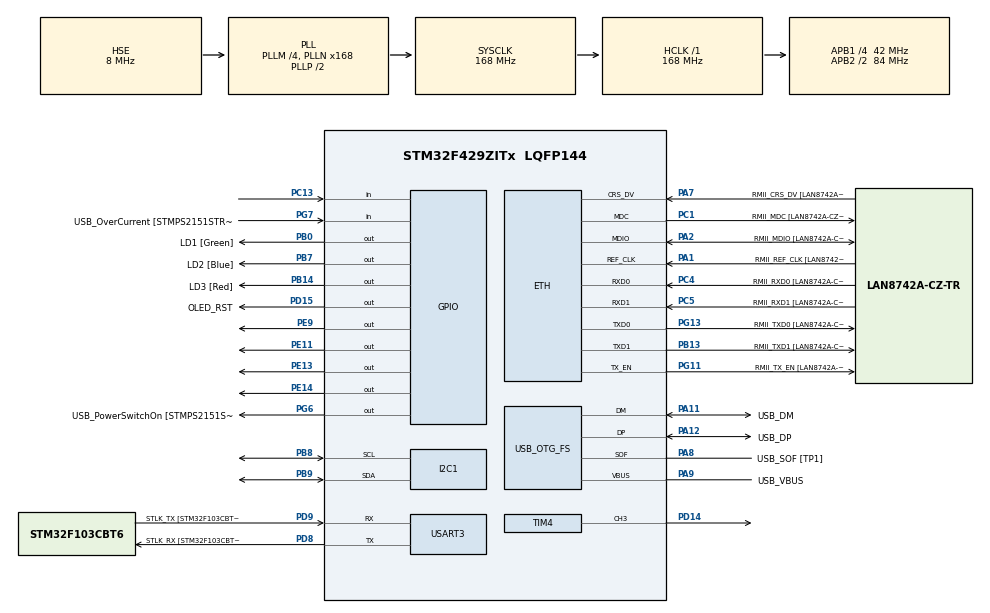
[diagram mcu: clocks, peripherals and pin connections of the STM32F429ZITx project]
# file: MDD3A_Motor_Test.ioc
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ETH.MediaInterface=HAL_ETH_RMII_MODE
ETH.PHY_Name=LAN8742A_PHY_ADDRESS
ETH.PHY_Value=0
ETH.PhyAddress=0
Mcu.Family=STM32F4
Mcu.Name=STM32F429ZITx
Mcu.Package=LQFP144
NVIC.PriorityGroup=NVIC_PRIORITYGROUP_4
PA1.GPIO_Label=RMII_REF_CLK [LAN8742A-CZ-TR_REFCLK0]
PA1.Mode=RMII
PA1.Signal=ETH_REF_CLK
PA10.GPIO_Label=USB_ID
PA10.Signal=USB_OTG_FS_ID
PA11.GPIO_Label=USB_DM
PA11.Mode=Device_Only
PA11.Signal=USB_OTG_FS_DM
PA12.GPIO_Label=USB_DP
PA12.Mode=Device_Only
PA12.Signal=USB_OTG_FS_DP
PA13.GPIO_Label=TMS
PA13.Mode=Serial_Wire
PA13.Signal=SYS_JTMS-SWDIO
PA14.GPIO_Label=TCK
PA14.Mode=Serial_Wire
PA14.Signal=SYS_JTCK-SWCLK
PA2.GPIO_Label=RMII_MDIO [LAN8742A-CZ-TR_MDIO]
PA2.Mode=RMII
PA2.Signal=ETH_MDIO
PA7.GPIO_Label=RMII_CRS_DV [LAN8742A-CZ-TR_CRS_DV]
PA7.Mode=RMII
PA7.Signal=ETH_CRS_DV
PA8.GPIO_Label=USB_SOF [TP1]
PA8.Mode=Activate_SOF_FS
PA8.Signal=USB_OTG_FS_SOF
PA9.GPIO_Label=USB_VBUS
PA9.Mode=Activate_VBUS
PA9.Signal=USB_OTG_FS_VBUS
PB0.GPIO_Label=LD1 [Green]
PB0.Signal=GPIO_Output
PB13.GPIO_Label=RMII_TXD1 [LAN8742A-CZ-TR_TXD1]
PB13.Mode=RMII
PB13.Signal=ETH_TXD1
PB14.GPIO_Label=LD3 [Red]
PB14.Signal=GPIO_Output
PB7.GPIO_Label=LD2 [Blue]
PB7.Signal=GPIO_Output
PB8.Mode=I2C
PB8.Signal=I2C1_SCL
PB9.Mode=I2C
PB9.Signal=I2C1_SDA
PC1.GPIO_Label=RMII_MDC [LAN8742A-CZ-TR_MDC]
PC1.Mode=RMII
PC1.Signal=ETH_MDC
PC13.Signal=GPIO_Input
PC14/OSC32_IN.Mode=LSE-External-Oscillator
PC14/OSC32_IN.Signal=RCC_OSC32_IN
PC15/OSC32_OUT.Mode=LSE-External-Oscillator
PC15/OSC32_OUT.Signal=RCC_OSC32_OUT
PC4.GPIO_Label=RMII_RXD0 [LAN8742A-CZ-TR_RXD0]
PC4.Mode=RMII
PC4.Signal=ETH_RXD0
PC5.GPIO_Label=RMII_RXD1 [LAN8742A-CZ-TR_RXD1]
PC5.Mode=RMII
PC5.Signal=ETH_RXD1
PD14.Signal=S_TIM4_CH3
PD15.GPIO_Label=OLED_RST
PD15.Signal=GPIO_Output
PD8.GPIO_Label=STLK_RX [STM32F103CBT6_PA3]
PD8.Mode=Asynchronous
PD8.Signal=USART3_TX
PD9.GPIO_Label=STLK_TX [STM32F103CBT6_PA2]
PD9.Mode=Asynchronous
PD9.Signal=USART3_RX
PE11.Signal=GPIO_Output
PE13.Signal=GPIO_Output
PE14.Signal=GPIO_Output
PE9.Signal=GPIO_Output
PG11.GPIO_Label=RMII_TX_EN [LAN8742A-CZ-TR_TXEN]
PG11.Mode=RMII
PG11.Signal=ETH_TX_EN
PG13.GPIO_Label=RMII_TXD0 [LAN8742A-CZ-TR_TXD0]
PG13.Mode=RMII
PG13.Signal=ETH_TXD0
PG6.GPIO_Label=USB_PowerSwitchOn [STMPS2151STR_EN]
PG6.Signal=GPIO_Output
PG7.GPIO_Label=USB_OverCurrent [STMPS2151STR_FAULT]
PG7.Signal=GPIO_Input
PH0/OSC_IN.GPIO_Label=MCO [STM32F103CBT6_PA8]
PH0/OSC_IN.Mode=HSE-External-Clock-Source
PH0/OSC_IN.Signal=RCC_OSC_IN
PH1/OSC_OUT.Signal=RCC_OSC_OUT
ProjectManager.HeapSize=0x200
ProjectManager.StackSize=0x400
ProjectManager.TargetToolchain=STM32CubeIDE
RCC.48MHZClocksFreq_Value=48000000
RCC.AHBFreq_Value=168000000
RCC.APB1CLKDivider=RCC_HCLK_DIV4
RCC.APB1Freq_Value=42000000
RCC.APB1TimFreq_Value=84000000
RCC.APB2CLKDivider=RCC_HCLK_DIV2
RCC.APB2Freq_Value=84000000
RCC.APB2TimCLKDivider=2
RCC.APB2TimFreq_Value=168000000
RCC.CortexFreq_Value=168000000
RCC.HCLKFreq_Value=168000000
RCC.HSE_VALUE=8000000
RCC.HSI_VALUE=16000000
RCC.PLLM=4
RCC.PLLMUL=RCC_PLL_MUL9
RCC.PLLN=168
RCC.PLLQ=7
RCC.PRESCALERUSB=RCC_USBCLKSOURCE_PLL_DIV1_5
RCC.SYSCLKFreq_VALUE=168000000
RCC.SYSCLKSource=RCC_SYSCLKSOURCE_PLLCLK
RCC.SYSCLKSourceVirtual=RCC_SYSCLKSOURCE_PLLCLK
RCC.USBFreq_Value=48000000
RCC.VCOOutputFreq_Value=336000000
SH.S_TIM4_CH3.0=TIM4_CH3,PWM Generation3 CH3
TIM4.AutoReloadPreload=TIM_AUTORELOAD_PRELOAD_ENABLE
TIM4.Channel-PWM\ Generation3\ CH3=TIM_CHANNEL_3
TIM4.Period=19999
TIM4.Prescaler=83
USART3.VirtualMode=VM_ASYNC
USB_OTG_FS.VirtualMode=Device_Only
VP_TIM4_VS_ClockSourceINT.Mode=Internal
board=NUCLEO-F429ZI

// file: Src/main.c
/* USER CODE BEGIN Header */
/**
  ******************************************************************************
  * @file           : main.c
  * @brief          : Main program body
  ******************************************************************************
  * @attention
  *
  * Copyright (c) 2026 STMicroelectronics.
  * All rights reserved.
  *
  * This software is licensed under terms that can be found in the LICENSE file
  * in the root directory of this software component.
  * If no LICENSE file comes with this software, it is provided AS-IS.
  *
  ******************************************************************************
  */
/* USER CODE END Header */
#include "main.h"
#include "string.h"

/* USER CODE BEGIN Includes */
#include <stdio.h>
/* USER CODE END Includes */

ETH_TxPacketConfig TxConfig;
ETH_DMADescTypeDef  DMARxDscrTab[ETH_RX_DESC_CNT]; /* Ethernet Rx DMA Descriptors */
ETH_DMADescTypeDef  DMATxDscrTab[ETH_TX_DESC_CNT]; /* Ethernet Tx DMA Descriptors */

ETH_HandleTypeDef heth;

I2C_HandleTypeDef hi2c1;

TIM_HandleTypeDef htim4;

UART_HandleTypeDef huart3;

PCD_HandleTypeDef hpcd_USB_OTG_FS;

void SystemClock_Config(void);
static void MX_GPIO_Init(void);
static void MX_ETH_Init(void);
static void MX_USART3_UART_Init(void);
static void MX_USB_OTG_FS_PCD_Init(void);
static void MX_I2C1_Init(void);
static void MX_TIM4_Init(void);

/* USER CODE BEGIN 0 */

static uint8_t rtc_frame[1025];

// 숫자 및 기호, 문자 폰트
static const char rtc_chars[] =
    "0123456789-: RT CIMEOKNG";

static const uint8_t rtc_font[][5] = {
    {0x3E,0x41,0x41,0x41,0x3E}, // 0
    {0x00,0x42,0x7F,0x40,0x00}, // 1
    {0x62,0x51,0x49,0x49,0x46}, // 2
    {0x22,0x41,0x49,0x49,0x36}, // 3
    {0x18,0x14,0x12,0x7F,0x10}, // 4
    {0x27,0x45,0x45,0x45,0x39}, // 5
    {0x3E,0x49,0x49,0x49,0x32}, // 6
    {0x01,0x71,0x09,0x05,0x03}, // 7
    {0x36,0x49,0x49,0x49,0x36}, // 8
    {0x26,0x49,0x49,0x49,0x3E}, // 9
    {0x08,0x08,0x08,0x08,0x08}, // -
    {0x00,0x36,0x36,0x00,0x00}, // :
    {0x00,0x00,0x00,0x00,0x00}, // Space
    {0x7F,0x09,0x19,0x29,0x46}, // R
    {0x01,0x01,0x7F,0x01,0x01}, // T
    {0x00,0x00,0x00,0x00,0x00}, // Space
    {0x3E,0x41,0x41,0x41,0x22}, // C
    {0x00,0x41,0x7F,0x41,0x00}, // I
    {0x7F,0x02,0x0C,0x02,0x7F}, // M
    {0x7F,0x49,0x49,0x49,0x41}, // E
    {0x3E,0x41,0x41,0x41,0x3E}, // O
    {0x7F,0x08,0x14,0x22,0x41}, // K
    {0x7F,0x02,0x04,0x08,0x7F}, // N
    {0x3E,0x41,0x49,0x49,0x7A}  // G
};

// BCD -> Decimal
static uint8_t RTC_BCD(uint8_t value)
{
    return ((value >> 4) * 10)
           + (value & 0x0F);
}

// OLED 문자 그리기
static void RTC_DrawText(
    uint8_t x,
    uint8_t y,
    const char *text,
    uint8_t scale)
{
    while (*text)
    {
        const char *p = strchr(rtc_chars, *text);

        if (p != NULL)
        {
            uint8_t index = p - rtc_chars;

            for (uint8_t col = 0; col < 5; col++)
            {
                for (uint8_t row = 0; row < 7; row++)
                {
                    if (rtc_font[index][col] & (1U << row))
                    {
                        for (uint8_t dx = 0; dx < scale; dx++)
                        {
                            for (uint8_t dy = 0; dy < scale; dy++)
                            {
                                uint16_t px =
                                    x + col * scale + dx;

                                uint16_t py =
                                    y + row * scale + dy;

                                if (px < 128 && py < 64)
                                {
                                    rtc_frame[
                                        1 + (py / 8) * 128 + px
                                    ] |= (1U << (py % 8));
                                }
                            }
                        }
                    }
                }
            }
        }

        x += 6 * scale;
        text++;
    }
}

// RTC 날짜 및 시간 읽기, OLED 출력
static HAL_StatusTypeDef RTC_ShowTime(uint8_t addr)
{
    uint8_t data[7];
    uint8_t flags = 0;

    char date[16];
    char time[16];

    memset(rtc_frame, 0, sizeof(rtc_frame));
    rtc_frame[0] = 0x40;

    RTC_DrawText(25, 2, "RTC TIME TEST", 1);

    HAL_StatusTypeDef result = HAL_I2C_Mem_Read(
        &hi2c1,
        (0x68 << 1),
        0x00,
        I2C_MEMADD_SIZE_8BIT,
        data,
        sizeof(data),
        100
    );

    if (result == HAL_OK)
    {
        uint8_t sec = RTC_BCD(data[0] & 0x7F);
        uint8_t min = RTC_BCD(data[1] & 0x7F);
        uint8_t hour = RTC_BCD(data[2] & 0x3F);

        uint8_t day = RTC_BCD(data[4] & 0x3F);
        uint8_t month = RTC_BCD(data[5] & 0x1F);
        uint8_t year = RTC_BCD(data[6]);

        snprintf(date, sizeof(date),
                 "20%02u-%02u-%02u",
                 year, month, day);

        snprintf(time, sizeof(time),
                 "%02u:%02u:%02u",
                 hour, min, sec);

        RTC_DrawText(4, 15, date, 2);
        RTC_DrawText(0, 32, time, 2);

        result = HAL_I2C_Mem_Read(
            &hi2c1,
            (0x68 << 1),
            0x0F,
            I2C_MEMADD_SIZE_8BIT,
            &flags,
            1,
            100
        );

        if (result == HAL_OK && !(flags & 0x80))
        {
            RTC_DrawText(46, 55, "RTC OK", 1);
        }
        else
        {
            RTC_DrawText(46, 55, "RTC NG", 1);
        }
    }
    else
    {
        RTC_DrawText(46, 28, "RTC NG", 1);
    }

    uint8_t window[] = {
        0x00,
        0x21, 0x00, 0x7F,
        0x22, 0x00, 0x07
    };

    if (HAL_I2C_Master_Transmit(
            &hi2c1,
            (addr << 1),
            window,
            sizeof(window),
            200) != HAL_OK)
    {
        return HAL_ERROR;
    }

    return HAL_I2C_Master_Transmit(
        &hi2c1,
        (addr << 1),
        rtc_frame,
        sizeof(rtc_frame),
        500
    );
}

/* USER CODE END 0 */

int main(void)
{

  /* MCU Configuration--------------------------------------------------------*/

  /* Reset of all peripherals, Initializes the Flash interface and the Systick. */
  HAL_Init();

  /* Configure the system clock */
  SystemClock_Config();

  /* Initialize all configured peripherals */
  MX_GPIO_Init();
  MX_ETH_Init();
  MX_USART3_UART_Init();
  MX_USB_OTG_FS_PCD_Init();
  MX_I2C1_Init();
  MX_TIM4_Init();
  /* USER CODE BEGIN 2 */

  // ===== RTC 날짜 및 시간 설정 =====

  // 1: 시간 설정 실행
  // 0: 시간 설정 안 함
  #define RTC_SET_TIME 0

  #if RTC_SET_TIME

  // 아래 값을 실제 현재 시간으로 변경
  uint8_t set_year   = 26;
  uint8_t set_month  = 11;
  uint8_t set_date   = 27;
  uint8_t set_day    = 6;
  uint8_t set_hour   = 19;
  uint8_t set_minute = 2;
  uint8_t set_second = 0;

  // 십진수 → BCD 변환
  uint8_t rtc_set[7] = {
      ((set_second / 10) << 4) | (set_second % 10),
      ((set_minute / 10) << 4) | (set_minute % 10),
      ((set_hour / 10) << 4) | (set_hour % 10),
      set_day,
      ((set_date / 10) << 4) | (set_date % 10),
      ((set_month / 10) << 4) | (set_month % 10),
      ((set_year / 10) << 4) | (set_year % 10)
  };

  volatile HAL_StatusTypeDef rtc_set_result;

  HAL_Delay(200);

  // DS3231 시간 레지스터에 기록
  rtc_set_result = HAL_I2C_Mem_Write(
      &hi2c1,
      (0x68 << 1),
      0x00,
      I2C_MEMADD_SIZE_8BIT,
      rtc_set,
      sizeof(rtc_set),
      100
  );

  // RTC 시간 설정 실패 확인
  if (rtc_set_result != HAL_OK)
  {
      HAL_GPIO_WritePin(GPIOB,
          GPIO_PIN_14, GPIO_PIN_SET);

      while (1)
      {
          HAL_Delay(100);
      }
  }

  #endif

  // ===== RTC 날짜 및 시간 설정 끝 =====

  // RTC 시험용 LED 초기화
  __HAL_RCC_GPIOB_CLK_ENABLE();

  GPIO_InitTypeDef rtc_led = {0};
  rtc_led.Pin = GPIO_PIN_0 | GPIO_PIN_14;
  rtc_led.Mode = GPIO_MODE_OUTPUT_PP;
  rtc_led.Pull = GPIO_NOPULL;
  rtc_led.Speed = GPIO_SPEED_FREQ_LOW;

  HAL_GPIO_Init(GPIOB, &rtc_led);

  HAL_GPIO_WritePin(GPIOB,
      GPIO_PIN_0 | GPIO_PIN_14,
      GPIO_PIN_RESET);

  HAL_Delay(200);

  uint8_t rtc_first = 0;
  uint8_t rtc_second = 0;

  HAL_StatusTypeDef status1;
  HAL_StatusTypeDef status2;

  // 첫 번째 초 데이터 읽기
  status1 = HAL_I2C_Mem_Read(
      &hi2c1,
      (0x68 << 1),
      0x00,
      I2C_MEMADD_SIZE_8BIT,
      &rtc_first,
      1,
      100
  );

  // 2초 대기
  HAL_Delay(2000);

  // 두 번째 초 데이터 읽기
  status2 = HAL_I2C_Mem_Read(
      &hi2c1,
      (0x68 << 1),
      0x00,
      I2C_MEMADD_SIZE_8BIT,
      &rtc_second,
      1,
      100
  );

  // BCD 데이터를 십진수로 변환
  uint8_t sec1 =
      ((rtc_first >> 4) & 0x07) * 10
      + (rtc_first & 0x0F);

  uint8_t sec2 =
      ((rtc_second >> 4) & 0x07) * 10
      + (rtc_second & 0x0F);

  uint8_t diff = (sec2 + 60 - sec1) % 60;

  uint8_t rtc_flags = 0;

  HAL_StatusTypeDef flag_status;

  flag_status = HAL_I2C_Mem_Read(
      &hi2c1,
      (0x68 << 1),
      0x0F,
      I2C_MEMADD_SIZE_8BIT,
      &rtc_flags,
      1,
      100
  );

  // OSF 비트 확인
  uint8_t rtc_osf = (rtc_flags & 0x80) != 0;

  // 읽기 성공 및 시간 증가 확인
  if (status1 == HAL_OK &&
      status2 == HAL_OK &&
	  flag_status == HAL_OK &&
      sec1 < 60 &&
      sec2 < 60 &&
      diff >= 1 &&
      diff <= 3)
  {
      HAL_GPIO_WritePin(GPIOB,
          GPIO_PIN_0, GPIO_PIN_SET);

      if (rtc_osf)
          {
              HAL_GPIO_WritePin(GPIOB,
                  GPIO_PIN_14, GPIO_PIN_SET);
          }
  }
  else
  {
      HAL_GPIO_WritePin(GPIOB,
          GPIO_PIN_14, GPIO_PIN_SET);
  }

  // ===== OLED I2C 통신 시험 =====

  // 파란색 LD2 초기화 (PB7)
  __HAL_RCC_GPIOB_CLK_ENABLE();

  GPIO_InitTypeDef oled_led = {0};

  oled_led.Pin = GPIO_PIN_7;
  oled_led.Mode = GPIO_MODE_OUTPUT_PP;
  oled_led.Pull = GPIO_NOPULL;
  oled_led.Speed = GPIO_SPEED_FREQ_LOW;

  HAL_GPIO_Init(GPIOB, &oled_led);

  HAL_GPIO_WritePin(GPIOB,
      GPIO_PIN_7, GPIO_PIN_RESET);

  // OLED 하드웨어 리셋
  HAL_GPIO_WritePin(
      OLED_RST_GPIO_Port,
      OLED_RST_Pin,
      GPIO_PIN_RESET
  );

  HAL_Delay(20);

  // OLED 리셋 해제
  HAL_GPIO_WritePin(
      OLED_RST_GPIO_Port,
      OLED_RST_Pin,
      GPIO_PIN_SET
  );

  HAL_Delay(100);

  // OLED I2C 주소 확인
  uint8_t oled_addr = 0;

  if (HAL_I2C_IsDeviceReady(
          &hi2c1, (0x3C << 1), 3, 100)
          == HAL_OK)
  {
      oled_addr = 0x3C;
  }
  else if (HAL_I2C_IsDeviceReady(
          &hi2c1, (0x3D << 1), 3, 100)
          == HAL_OK)
  {
      oled_addr = 0x3D;
  }

  // OLED 통신 결과 표시
  if (oled_addr != 0)
  {
      HAL_GPIO_WritePin(GPIOB,
          GPIO_PIN_7, GPIO_PIN_SET);
  }
  else
  {
      HAL_GPIO_WritePin(GPIOB,
          GPIO_PIN_14, GPIO_PIN_SET);
  }

  // ===== OLED I2C 통신 시험 끝 =====

  // ===== SSD1309 문자 출력 시험 =====

  if (oled_addr != 0)
  {
      uint8_t oled_init[] = {
          0x00,
          0xAE,
          0xD5, 0x80,
          0xA8, 0x3F,
          0xD3, 0x00,
          0x40,
          0x20, 0x00,
          0xA1,
          0xC8,
          0xDA, 0x12,
          0x81, 0x40,
          0xD9, 0x22,
          0xDB, 0x34,
          0xA4,
          0xA6,
          0x2E,
          0xAF
      };

      HAL_StatusTypeDef oled_result;

      oled_result = HAL_I2C_Master_Transmit(
          &hi2c1,
          (oled_addr << 1),
          oled_init,
          sizeof(oled_init),
          200
      );

      // 5x7 문자 비트맵
      const uint8_t font[8][5] = {
          {0x7F,0x08,0x14,0x22,0x41}, // K
          {0x7F,0x49,0x49,0x49,0x41}, // E
          {0x07,0x08,0x70,0x08,0x07}, // Y
          {0x00,0x00,0x00,0x00,0x00}, // Space
          {0x3E,0x41,0x41,0x41,0x3E}, // O
          {0x7F,0x02,0x04,0x08,0x7F}, // N
          {0x3E,0x41,0x49,0x49,0x7A}, // G
          {0x7F,0x08,0x14,0x22,0x41}  // K
      };

      const uint8_t messages[2][6] = {
          {0, 1, 2, 3, 4, 7}, // KEY OK
          {0, 1, 2, 3, 5, 6}  // KEY NG
      };

      static uint8_t frame[1025];

      // KEY OK / KEY NG 각각 3회 출력
      for (uint8_t trial = 0;
           trial < 6 && oled_result == HAL_OK;
           trial++)
      {
          frame[0] = 0x40;

          // 화면 초기화
          for (uint16_t i = 1; i < 1025; i++)
          {
              frame[i] = 0x00;
          }

          // 문자를 3배 크기로 확대
          for (uint8_t ch = 0; ch < 6; ch++)
          {
              for (uint8_t col = 0; col < 5; col++)
              {
                  uint8_t bits =
                      font[messages[trial % 2][ch]][col];

                  for (uint8_t row = 0; row < 7; row++)
                  {
                      if (bits & (1U << row))
                      {
                          for (uint8_t dx = 0; dx < 3; dx++)
                          {
                              for (uint8_t dy = 0; dy < 3; dy++)
                              {
                                  uint8_t x =
                                      10 + ch * 18 + col * 3 + dx;

                                  uint8_t y =
                                      21 + row * 3 + dy;

                                  frame[1 + (y / 8) * 128 + x]
                                      |= (1U << (y % 8));
                              }
                          }
                      }
                  }
              }
          }

          uint8_t window[] = {
              0x00,
              0x21, 0x00, 0x7F,
              0x22, 0x00, 0x07
          };

          oled_result = HAL_I2C_Master_Transmit(
              &hi2c1,
              (oled_addr << 1),
              window,
              sizeof(window),
              200
          );

          if (oled_result == HAL_OK)
          {
              oled_result = HAL_I2C_Master_Transmit(
                  &hi2c1,
                  (oled_addr << 1),
                  frame,
                  sizeof(frame),
                  500
              );
          }

          HAL_Delay(2000);
      }

      if (oled_result != HAL_OK)
      {
          HAL_GPIO_WritePin(GPIOB,
              GPIO_PIN_7, GPIO_PIN_RESET);

          HAL_GPIO_WritePin(GPIOB,
              GPIO_PIN_14, GPIO_PIN_SET);
      }
  }

  // ===== SSD1309 화면 출력 시험 끝 =====

  // ===== SG90 서보모터 독립 시험 =====

  // 전원 연결 준비 시간 확보
  HAL_Delay(5000);

  // 중앙 위치 설정
  __HAL_TIM_SET_COMPARE(
      &htim4,
      TIM_CHANNEL_3,
      1500
  );

  // PWM 출력 시작
  if (HAL_TIM_PWM_Start(
          &htim4,
          TIM_CHANNEL_3) == HAL_OK)
  {
      HAL_Delay(2000);

      for (uint8_t i = 0; i < 2; i++)
      {
          // 잠금 위치
          __HAL_TIM_SET_COMPARE(
              &htim4,
              TIM_CHANNEL_3,
              1000
          );

          HAL_Delay(2000);

          // 중앙 위치
          __HAL_TIM_SET_COMPARE(
              &htim4,
              TIM_CHANNEL_3,
              1500
          );

          HAL_Delay(2000);
      }

      // PWM 출력 정지
      HAL_TIM_PWM_Stop(
          &htim4,
          TIM_CHANNEL_3
      );
  }
  else
  {
      // PWM 시작 실패 시 빨간색 LED
      HAL_GPIO_WritePin(
          GPIOB,
          GPIO_PIN_14,
          GPIO_PIN_SET
      );
  }

  // ===== SG90 서보모터 독립 시험 끝 =====

  // 서보모터 시험 종료 후 RTC 시간 출력
  if (oled_addr != 0)
  {
      if (RTC_ShowTime(oled_addr) != HAL_OK)
      {
          HAL_GPIO_WritePin(
              GPIOB,
              GPIO_PIN_14,
              GPIO_PIN_SET
          );
      }
  }

  /* USER CODE END 2 */

  /* Infinite loop */
  while (1)
  {

    /* USER CODE BEGIN 3 */

	  /* Test sequence: M1 -> M2 -> ALL */
	  static uint8_t test_step = 0;

	  uint16_t motor_pins =
	      GPIO_PIN_9 | GPIO_PIN_11 |
	      GPIO_PIN_13 | GPIO_PIN_14;

	  uint16_t active_pins = 0;

	  /* Stop all motors */
	  HAL_GPIO_WritePin(GPIOE, motor_pins,
	                    GPIO_PIN_RESET);

	  /* Wait for stable button release */
	  do
	  {
	      while (HAL_GPIO_ReadPin(GPIOC, GPIO_PIN_13)
	             == GPIO_PIN_SET)
	      {
	          HAL_Delay(1);
	      }

	      HAL_Delay(30);

	  } while (HAL_GPIO_ReadPin(GPIOC, GPIO_PIN_13)
	           == GPIO_PIN_SET);

	  /* Wait for a new button press */
	  while (HAL_GPIO_ReadPin(GPIOC, GPIO_PIN_13)
	         == GPIO_PIN_RESET)
	  {
	      HAL_Delay(1);
	  }

	  HAL_Delay(30);

	  if (HAL_GPIO_ReadPin(GPIOC, GPIO_PIN_13)
	      == GPIO_PIN_SET)
	  {

		  switch (test_step)
		  {
		      case 0:
		          active_pins = GPIO_PIN_9;
		          break;

		      case 1:
		          active_pins = GPIO_PIN_13;
		          break;

		      case 2:
		          active_pins = GPIO_PIN_9 |
		                        GPIO_PIN_13;
		          break;

		      default:
		          active_pins = 0;
		          break;
		  }

	      uint32_t start = HAL_GetTick();

	      /* 60% software PWM, maximum 500 ms */
	      while ((HAL_GetTick() - start < 500U) &&
	             (HAL_GPIO_ReadPin(GPIOC, GPIO_PIN_13)
	              == GPIO_PIN_SET))
	      {
	          uint32_t elapsed = HAL_GetTick() - start;

	          HAL_GPIO_WritePin(
	              GPIOE,
	              active_pins,
	              (elapsed % 10U < 6U)
	                  ? GPIO_PIN_SET
	                  : GPIO_PIN_RESET
	          );

	          HAL_Delay(1);
	      }

	      /* Stop all motors */
	      HAL_GPIO_WritePin(GPIOE, motor_pins,
	                        GPIO_PIN_RESET);

	      /* Select next test */
	      test_step = (test_step + 1U) % 3U;
	  }

  }
  /* USER CODE END 3 */
}

void SystemClock_Config(void)
{
  RCC_OscInitTypeDef RCC_OscInitStruct = {0};
  RCC_ClkInitTypeDef RCC_ClkInitStruct = {0};

  /** Configure the main internal regulator output voltage
  */
  __HAL_RCC_PWR_CLK_ENABLE();
  __HAL_PWR_VOLTAGESCALING_CONFIG(PWR_REGULATOR_VOLTAGE_SCALE1);

  /** Initializes the RCC Oscillators according to the specified parameters
  * in the RCC_OscInitTypeDef structure.
  */
  RCC_OscInitStruct.OscillatorType = RCC_OSCILLATORTYPE_HSE;
  RCC_OscInitStruct.HSEState = RCC_HSE_BYPASS;
  RCC_OscInitStruct.PLL.PLLState = RCC_PLL_ON;
  RCC_OscInitStruct.PLL.PLLSource = RCC_PLLSOURCE_HSE;
  RCC_OscInitStruct.PLL.PLLM = 4;
  RCC_OscInitStruct.PLL.PLLN = 168;
  RCC_OscInitStruct.PLL.PLLP = RCC_PLLP_DIV2;
  RCC_OscInitStruct.PLL.PLLQ = 7;
  if (HAL_RCC_OscConfig(&RCC_OscInitStruct) != HAL_OK)
  {
    Error_Handler();
  }

  /** Initializes the CPU, AHB and APB buses clocks
  */
  RCC_ClkInitStruct.ClockType = RCC_CLOCKTYPE_HCLK|RCC_CLOCKTYPE_SYSCLK
                              |RCC_CLOCKTYPE_PCLK1|RCC_CLOCKTYPE_PCLK2;
  RCC_ClkInitStruct.SYSCLKSource = RCC_SYSCLKSOURCE_PLLCLK;
  RCC_ClkInitStruct.AHBCLKDivider = RCC_SYSCLK_DIV1;
  RCC_ClkInitStruct.APB1CLKDivider = RCC_HCLK_DIV4;
  RCC_ClkInitStruct.APB2CLKDivider = RCC_HCLK_DIV2;

  if (HAL_RCC_ClockConfig(&RCC_ClkInitStruct, FLASH_LATENCY_5) != HAL_OK)
  {
    Error_Handler();
  }
}

static void MX_ETH_Init(void)
{

   static uint8_t MACAddr[6];

  heth.Instance = ETH;
  MACAddr[0] = 0x00;
  MACAddr[1] = 0x80;
  MACAddr[2] = 0xE1;
  MACAddr[3] = 0x00;
  MACAddr[4] = 0x00;
  MACAddr[5] = 0x00;
  heth.Init.MACAddr = &MACAddr[0];
  heth.Init.MediaInterface = HAL_ETH_RMII_MODE;
  heth.Init.TxDesc = DMATxDscrTab;
  heth.Init.RxDesc = DMARxDscrTab;
  heth.Init.RxBuffLen = 1524;

  if (HAL_ETH_Init(&heth) != HAL_OK)
  {
    Error_Handler();
  }

  memset(&TxConfig, 0 , sizeof(ETH_TxPacketConfig));
  TxConfig.Attributes = ETH_TX_PACKETS_FEATURES_CSUM | ETH_TX_PACKETS_FEATURES_CRCPAD;
  TxConfig.ChecksumCtrl = ETH_CHECKSUM_IPHDR_PAYLOAD_INSERT_PHDR_CALC;
  TxConfig.CRCPadCtrl = ETH_CRC_PAD_INSERT;

}

static void MX_I2C1_Init(void)
{

  hi2c1.Instance = I2C1;
  hi2c1.Init.ClockSpeed = 100000;
  hi2c1.Init.DutyCycle = I2C_DUTYCYCLE_2;
  hi2c1.Init.OwnAddress1 = 0;
  hi2c1.Init.AddressingMode = I2C_ADDRESSINGMODE_7BIT;
  hi2c1.Init.DualAddressMode = I2C_DUALADDRESS_DISABLE;
  hi2c1.Init.OwnAddress2 = 0;
  hi2c1.Init.GeneralCallMode = I2C_GENERALCALL_DISABLE;
  hi2c1.Init.NoStretchMode = I2C_NOSTRETCH_DISABLE;
  if (HAL_I2C_Init(&hi2c1) != HAL_OK)
  {
    Error_Handler();
  }

  /** Configure Analogue filter
  */
  if (HAL_I2CEx_ConfigAnalogFilter(&hi2c1, I2C_ANALOGFILTER_ENABLE) != HAL_OK)
  {
    Error_Handler();
  }

  /** Configure Digital filter
  */
  if (HAL_I2CEx_ConfigDigitalFilter(&hi2c1, 0) != HAL_OK)
  {
    Error_Handler();
  }

}

static void MX_TIM4_Init(void)
{

  TIM_ClockConfigTypeDef sClockSourceConfig = {0};
  TIM_MasterConfigTypeDef sMasterConfig = {0};
  TIM_OC_InitTypeDef sConfigOC = {0};

  htim4.Instance = TIM4;
  htim4.Init.Prescaler = 83;
  htim4.Init.CounterMode = TIM_COUNTERMODE_UP;
  htim4.Init.Period = 19999;
  htim4.Init.ClockDivision = TIM_CLOCKDIVISION_DIV1;
  htim4.Init.AutoReloadPreload = TIM_AUTORELOAD_PRELOAD_ENABLE;
  if (HAL_TIM_Base_Init(&htim4) != HAL_OK)
  {
    Error_Handler();
  }
  sClockSourceConfig.ClockSource = TIM_CLOCKSOURCE_INTERNAL;
  if (HAL_TIM_ConfigClockSource(&htim4, &sClockSourceConfig) != HAL_OK)
  {
    Error_Handler();
  }
  if (HAL_TIM_PWM_Init(&htim4) != HAL_OK)
  {
    Error_Handler();
  }
  sMasterConfig.MasterOutputTrigger = TIM_TRGO_RESET;
  sMasterConfig.MasterSlaveMode = TIM_MASTERSLAVEMODE_DISABLE;
  if (HAL_TIMEx_MasterConfigSynchronization(&htim4, &sMasterConfig) != HAL_OK)
  {
    Error_Handler();
  }
  sConfigOC.OCMode = TIM_OCMODE_PWM1;
  sConfigOC.Pulse = 0;
  sConfigOC.OCPolarity = TIM_OCPOLARITY_HIGH;
  sConfigOC.OCFastMode = TIM_OCFAST_DISABLE;
  if (HAL_TIM_PWM_ConfigChannel(&htim4, &sConfigOC, TIM_CHANNEL_3) != HAL_OK)
  {
    Error_Handler();
  }
  HAL_TIM_MspPostInit(&htim4);

}

static void MX_USART3_UART_Init(void)
{

  huart3.Instance = USART3;
  huart3.Init.BaudRate = 115200;
  huart3.Init.WordLength = UART_WORDLENGTH_8B;
  huart3.Init.StopBits = UART_STOPBITS_1;
  huart3.Init.Parity = UART_PARITY_NONE;
  huart3.Init.Mode = UART_MODE_TX_RX;
  huart3.Init.HwFlowCtl = UART_HWCONTROL_NONE;
  huart3.Init.OverSampling = UART_OVERSAMPLING_16;
  if (HAL_UART_Init(&huart3) != HAL_OK)
  {
    Error_Handler();
  }

}

static void MX_USB_OTG_FS_PCD_Init(void)
{

  hpcd_USB_OTG_FS.Instance = USB_OTG_FS;
  hpcd_USB_OTG_FS.Init.dev_endpoints = 4;
  hpcd_USB_OTG_FS.Init.speed = PCD_SPEED_FULL;
  hpcd_USB_OTG_FS.Init.dma_enable = DISABLE;
  hpcd_USB_OTG_FS.Init.phy_itface = PCD_PHY_EMBEDDED;
  hpcd_USB_OTG_FS.Init.Sof_enable = ENABLE;
  hpcd_USB_OTG_FS.Init.low_power_enable = DISABLE;
  hpcd_USB_OTG_FS.Init.lpm_enable = DISABLE;
  hpcd_USB_OTG_FS.Init.vbus_sensing_enable = ENABLE;
  hpcd_USB_OTG_FS.Init.use_dedicated_ep1 = DISABLE;
  if (HAL_PCD_Init(&hpcd_USB_OTG_FS) != HAL_OK)
  {
    Error_Handler();
  }

}

static void MX_GPIO_Init(void)
{
  GPIO_InitTypeDef GPIO_InitStruct = {0};

  /* GPIO Ports Clock Enable */
  __HAL_RCC_GPIOC_CLK_ENABLE();
  __HAL_RCC_GPIOH_CLK_ENABLE();
  __HAL_RCC_GPIOA_CLK_ENABLE();
  __HAL_RCC_GPIOB_CLK_ENABLE();
  __HAL_RCC_GPIOE_CLK_ENABLE();
  __HAL_RCC_GPIOD_CLK_ENABLE();
  __HAL_RCC_GPIOG_CLK_ENABLE();

  /*Configure GPIO pin Output Level */
  HAL_GPIO_WritePin(GPIOB, LD1_Pin|LD3_Pin|LD2_Pin, GPIO_PIN_RESET);

  /*Configure GPIO pin Output Level */
  HAL_GPIO_WritePin(GPIOE, GPIO_PIN_9|GPIO_PIN_11|GPIO_PIN_13|GPIO_PIN_14, GPIO_PIN_RESET);

  /*Configure GPIO pin Output Level */
  HAL_GPIO_WritePin(OLED_RST_GPIO_Port, OLED_RST_Pin, GPIO_PIN_RESET);

  /*Configure GPIO pin Output Level */
  HAL_GPIO_WritePin(USB_PowerSwitchOn_GPIO_Port, USB_PowerSwitchOn_Pin, GPIO_PIN_RESET);

  /*Configure GPIO pin : PC13 */
  GPIO_InitStruct.Pin = GPIO_PIN_13;
  GPIO_InitStruct.Mode = GPIO_MODE_INPUT;
  GPIO_InitStruct.Pull = GPIO_NOPULL;
  HAL_GPIO_Init(GPIOC, &GPIO_InitStruct);

  /*Configure GPIO pins : LD1_Pin LD3_Pin LD2_Pin */
  GPIO_InitStruct.Pin = LD1_Pin|LD3_Pin|LD2_Pin;
  GPIO_InitStruct.Mode = GPIO_MODE_OUTPUT_PP;
  GPIO_InitStruct.Pull = GPIO_NOPULL;
  GPIO_InitStruct.Speed = GPIO_SPEED_FREQ_LOW;
  HAL_GPIO_Init(GPIOB, &GPIO_InitStruct);

  /*Configure GPIO pins : PE9 PE11 PE13 PE14 */
  GPIO_InitStruct.Pin = GPIO_PIN_9|GPIO_PIN_11|GPIO_PIN_13|GPIO_PIN_14;
  GPIO_InitStruct.Mode = GPIO_MODE_OUTPUT_PP;
  GPIO_InitStruct.Pull = GPIO_NOPULL;
  GPIO_InitStruct.Speed = GPIO_SPEED_FREQ_LOW;
  HAL_GPIO_Init(GPIOE, &GPIO_InitStruct);

  /*Configure GPIO pin : OLED_RST_Pin */
  GPIO_InitStruct.Pin = OLED_RST_Pin;
  GPIO_InitStruct.Mode = GPIO_MODE_OUTPUT_PP;
  GPIO_InitStruct.Pull = GPIO_NOPULL;
  GPIO_InitStruct.Speed = GPIO_SPEED_FREQ_LOW;
  HAL_GPIO_Init(OLED_RST_GPIO_Port, &GPIO_InitStruct);

  /*Configure GPIO pin : USB_PowerSwitchOn_Pin */
  GPIO_InitStruct.Pin = USB_PowerSwitchOn_Pin;
  GPIO_InitStruct.Mode = GPIO_MODE_OUTPUT_PP;
  GPIO_InitStruct.Pull = GPIO_NOPULL;
  GPIO_InitStruct.Speed = GPIO_SPEED_FREQ_LOW;
  HAL_GPIO_Init(USB_PowerSwitchOn_GPIO_Port, &GPIO_InitStruct);

  /*Configure GPIO pin : USB_OverCurrent_Pin */
  GPIO_InitStruct.Pin = USB_OverCurrent_Pin;
  GPIO_InitStruct.Mode = GPIO_MODE_INPUT;
  GPIO_InitStruct.Pull = GPIO_NOPULL;
  HAL_GPIO_Init(USB_OverCurrent_GPIO_Port, &GPIO_InitStruct);

}

void Error_Handler(void)
{
  __disable_irq();
  while (1)
  {
  }
}
